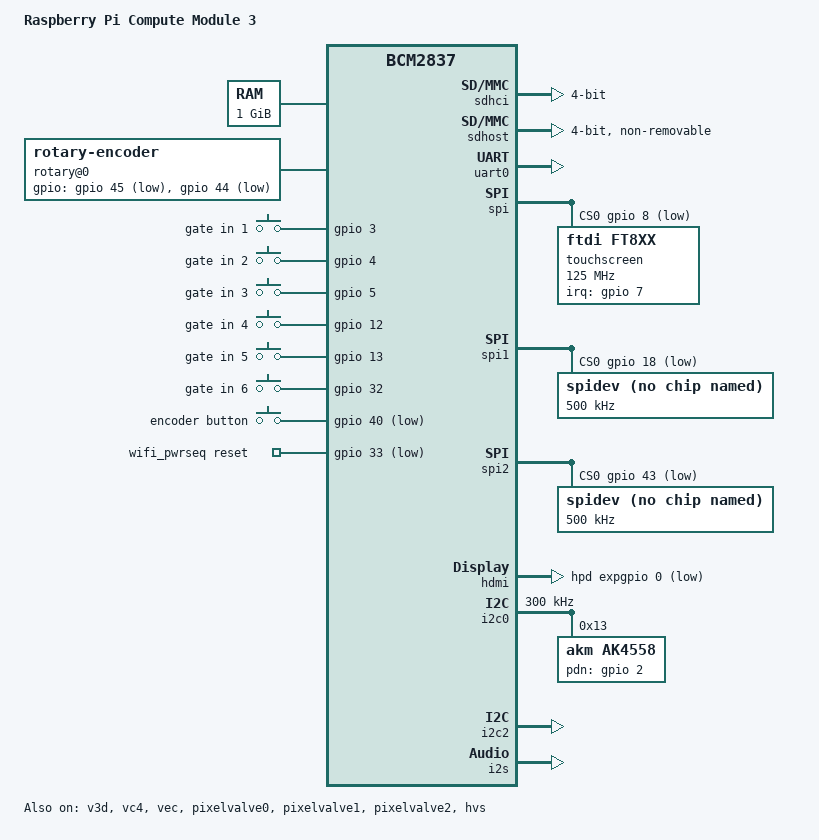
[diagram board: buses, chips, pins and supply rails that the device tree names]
// SPDX-License-Identifier: GPL-2.0
/dts-v1/;
#include "../../../../arm/boot/dts/bcm2837.dtsi"
#include "../../../../arm/boot/dts/bcm2835-rpi.dtsi"
#include "../../../../arm/boot/dts/bcm283x-rpi-usb-host.dtsi"

#include <dt-bindings/interrupt-controller/irq.h>
#include <dt-bindings/clock/bcm2835.h>
#include <dt-bindings/input/linux-event-codes.h>

#define ALT(x) BCM2835_FSEL_ALT ## x
#define DIR(x) BCM2835_FSEL_GPIO_ ## x
#define PULL(x) BCM2835_PUD_ ## x


/ {
	compatible = "raspberrypi,cm3", "brcm,bcm2837";
	model = "Raspberry Pi Compute Module 3";
	
	/delete-node/ chosen;
	
	memory {
		reg = <0 0x40000000>;
	};
	
	/delete-node/ leds;
	/delete-node/ cpus;
	
	expgpio: expgpio {
                compatible = "brcm,bcm2835-expgpio";
                gpio-controller;
		#gpio-cells = <2>;
		firmware = <&firmware>;
                status = "okay";
        };
	
	/*vchiq: vchiq {
		compatible = "brcm,bcm2835-vchiq";
		reg = <0x7e00b840 0xf>;
		interrupts = <0 2>;
		cache-line-size = <32>;
		firmware = <&firmware>;
        };*/
	
	
	cpus: cpus {
		#address-cells = <1>;
                #size-cells = <0>;
		
		v8_cpu0: cpu@0 {
			device_type = "cpu";
                        compatible = "arm,cortex-a53", "arm,armv8";
                        reg = <0>;
                        clock-frequency = <1200000000>;
		};
		
	        v8_cpu1: cpu@1 {
			device_type = "cpu";
                        compatible = "arm,cortex-a53", "arm,armv8";
                        reg = <1>;
                        clock-frequency = <1200000000>;
                        enable-method = "spin-table";
			cpu-release-addr = <0x0 0xe0>;
                };
		
                v8_cpu2: cpu@2 {
                        device_type = "cpu";
                        compatible = "arm,cortex-a53", "arm,armv8";
			reg = <2>;
                        clock-frequency = <1200000000>;
			enable-method = "spin-table";
                        cpu-release-addr = <0x0 0xe8>;
		};
		
                v8_cpu3: cpu@3 {
                        device_type = "cpu";
			compatible = "arm,cortex-a53", "arm,armv8";
                        reg = <3>;
                        clock-frequency = <1200000000>;
			enable-method = "spin-table";
                        cpu-release-addr = <0x0 0xf0>;
                };
	};
	
	soc {
		syscon@40000000 {
			compatible = "brcm,bcm2836-arm-local", "syscon";
			reg = <0x40000000 0x100>;
		};
		
		rotary@0 {
			compatible = "rotary-encoder";
			gpios = <&gpio 45 GPIO_ACTIVE_LOW>, <&gpio 44 GPIO_ACTIVE_LOW>;
			linux,axis = <0>;
			rotary-encoder,relative-axis;
			rotary-encoder,encoding = "gray";
			pinctrl-names = "default";
			pinctrl-0 = <&encoder_pins>;
		};
		
		input_gates {
			pinctrl-names = "default";
			pinctrl-0 = <&gatein_pins>;
		};
		
		gpio-keys {
			compatible = "gpio-keys";
			pinctrl-names = "default";
			pinctrl-0 = <&gateout_pins &gatein_pins>;
			
			gate-in-1 {
				label = "gate in 1";
				linux,code = <BTN_TRIGGER_HAPPY1>;
				gpios = <&gpio 3 GPIO_ACTIVE_HIGH>;
			};
			
			gate-in-2 {
				label = "gate in 2";
				linux,code = <BTN_TRIGGER_HAPPY2>;
				gpios = <&gpio 4 GPIO_ACTIVE_HIGH>;
			};
			
			gate-in-3 {
				label = "gate in 3";
				linux,code = <BTN_TRIGGER_HAPPY3>;
				gpios = <&gpio 5 GPIO_ACTIVE_HIGH>;
			};
			
			gate-in-4 {
				label = "gate in 4";
				linux,code = <BTN_TRIGGER_HAPPY4>;
				gpios = <&gpio 12 GPIO_ACTIVE_HIGH>;
			};
			
			gate-in-5 {
				label = "gate in 5";
				linux,code = <BTN_TRIGGER_HAPPY5>;
				gpios = <&gpio 13 GPIO_ACTIVE_HIGH>;
			};
			
			gate-in-6 {
				label = "gate in 6";
				linux,code = <BTN_TRIGGER_HAPPY6>;
				gpios = <&gpio 32 GPIO_ACTIVE_HIGH>;
			};

			click {
				label = "encoder button";
				linux,code = <BTN_SELECT>;
				gpios = <&gpio 40 GPIO_ACTIVE_LOW>;
				pinctrl-names = "default";
				pinctrl-0 = <&button_pin>;
			};
		};
		
		/delete-node/ sdhci@7e300000;
		wifi_pwrseq: wifi_pwrseq {
			compatible = "mmc-pwrseq-emmc";
			reset-gpios = <&gpio 33 GPIO_ACTIVE_LOW>;
		};
		
		sdhci: sdhci@7e300000 {
			compatible = "brcm,bcm2835-sdhci";
			pinctrl-names = "default";
			pinctrl-0 = <&sdio_pins>;
			reg = <0x7e300000 0x100>;
			interrupts = <2 30>;
			clocks = <&clocks BCM2835_CLOCK_EMMC>;
			bus-width = <4>;
			max-frequency = <50000000>;
			mmc-pwrseq = <&wifi_pwrseq>;
			status = "okay";
			removable;
		};

	
		/delete-node/ mmc@7e202000;
		sdhost: mmc@7e202000 {
			compatible = "brcm,bcm2835-sdhost";
			reg = <0x7e202000 0x100>;
			interrupts = <2 24>;
			clocks = <&clocks BCM2835_CLOCK_VPU>;
			dmas = <&dma 13>;
			dma-names = "rx-tx";
			pinctrl-names = "default";
			pinctrl-0 = <&sdhost_pins>;
			status = "okay";
			bus-width = <4>;
			brcm,overclock-50 = <50>;
			brcm,pio-limit = <1>;
			non-removable;
		};

		sound: sound {
			compatible = "ohmbre,ohmbre-codec";
			i2s-controller = <&i2s>;
			status = "okay";
		};

		/delete-node/ pixelvalve@7e206000;
		/delete-node/ pixelvalve@7e207000;
		/delete-node/ pixelvalve@7e807000;
	
		pixelvalve0: pixelvalve@7e206000 {
			compatible = "brcm,bcm2835-pixelvalve0";
			reg = <0x7e206000 0x100>;
			interrupts = <2 13>;
			status = "okay";
		};
		
		pixelvalve1: pixelvalve@7e207000 {
			compatible = "brcm,bcm2835-pixelvalve1";
			reg = <0x7e207000 0x100>;
			interrupts = <2 14>;
			status = "okay";
		};
		
		pixelvalve2: pixelvalve@7e807000 {
			compatible = "brcm,bcm2835-pixelvalve2";
			reg = <0x7e807000 0x100>;
			interrupts = <2 10>;
			status = "okay";
		};

		/delete-node/ hvs@7e400000;
		hvs: hvs@7e400000 {
			compatible = "brcm,bcm2835-hvs";
			reg = <0x7e400000 0x6000>;
			interrupts = <2 1>;
			status = "okay";
		};
	};


};


&gpio {

        tft_spi_pins: tft_pins {
                brcm,pins = <9 10 11>;
                brcm,function = <ALT(0)>;
        };

	tft_cs_pin: tft_cs_pin {
		brcm,pins = <8>;
		brcm,function = <DIR(OUT)>;
	};

	tft_int_pin: tft_int_pin {
		brcm,pins = <7>;
		brcm,function = <DIR(IN)>;
		brcm,pull = <PULL(UP)>;
	};

        sdio_pins: sdio_pins {
		brcm,pins = <22 23 24 25 26 27>;
                brcm,function = <ALT(3)>;
                brcm,pull = <PULL(OFF) PULL(UP) PULL(UP) PULL(UP) PULL(UP) PULL(UP)>;
        };

	sdhost_pins: sdhost_pins {
		brcm,pins = <48 49 50 51 52 53>;
                brcm,function = <ALT(0)>;
                brcm,pull = <PULL(UP) PULL(UP) PULL(UP) PULL(UP) PULL(UP) PULL(UP)>;
        };

	blue_pins: blue_pins {
		brcm,pins = <14 15 16 17>;
		brcm,function = <ALT(0) ALT(0) ALT(3) ALT(3)>;
	};

	encoder_pins: encoder_pins {
		brcm,pins = <44 45>;
		brcm,function = <DIR(IN)>;
		brcm,pull = <PULL(UP)>;
	};

	button_pin: button_pin {
		brcm,pins = <40>;
		brcm,function = <DIR(IN)>;
		brcm,pull = <PULL(UP)>;
	};

	gatein_pins: gatein_pins {
		brcm,pins = <3 4 5 12 13 32>;
		brcm,function = <DIR(IN)>;
		brcm,pull = <PULL(UP)>;
	};
		
	gateout_pins: gateout_pins {
		brcm,pins = <39 38 37 36 35 34>;
		brcm,function = <DIR(OUT)>;
		brcm,pull = <PULL(UP)>;
	};

	codec_i2c_pins: codec_i2c_pins {
                brcm,pins = <0 1 2>;
		brcm,function = <ALT(0) ALT(0) DIR(OUT)>;
		brcm,pull = <PULL(UP) PULL(UP) PULL(UP)>;
	};

	codec_i2s_pins: codec_i2s_pins {
                brcm,pins = <28 29 30 31>;
       	        brcm,function = <ALT(2)>;
	};

	adc_spi_pins: adc_spi_pins {
		brcm,pins = <19 20 21>;
		brcm,function = <ALT(4)>;
	};

	adc_cs_pin: adc_cs_pin {
		brcm,pins = <18>;
		brcm,function = <DIR(OUT)>;
	};

	dac_spi_pins: dac_spi_pins {
		brcm,pins = <41 42>;
		brcm,function = <ALT(4)>;
	};

	dac_cs_pin: dac_cs_pin {
		brcm,pins = <43>;
		brcm,function = <DIR(OUT)>;
	};
};


&uart0 {
	pinctrl-names = "default";
	pinctrl-0 = <&blue_pins>;
	clock-frequency = <48000000>;
	uart-has-rtscts;
        status = "okay";
};

&uart1 {
	status = "disabled";
};

&spi { 

        pinctrl-names = "default";
	pinctrl-0 = <&tft_spi_pins &tft_cs_pin>;
	cs-gpios = <&gpio 8 GPIO_ACTIVE_LOW>;
      	dmas = <&dma 6>, <&dma 7>;
	dma-names = "tx", "rx";
        status = "okay";

        /delete-node/ spidev@0;
      	/delete-node/ spidev@1;

	touchscreen: tinyft8@0{
                compatible = "ftdi,ft8xx";
      	        reg = <0>;
                spi-max-frequency = <125000000>;
                interrupt-parent = <&gpio>;
		interrupts = <7 IRQ_TYPE_EDGE_FALLING>;
		pinctrl-names = "default";
		pinctrl-0 = <&tft_int_pin>;
		irq-gpios = <&gpio 7 GPIO_ACTIVE_HIGH>;
                touchscreen-size-x = <320>;
                touchscreen-size-y = <240>;
                status = "okay";
        };

};

&spi1 {
	pinctrl-names = "default";
	pinctrl-0 = <&adc_spi_pins &adc_cs_pin>;
	cs-gpios = <&gpio 18 GPIO_ACTIVE_LOW>;
	interrupts = <1 29>;
	status = "okay";
	spidev@0 {
		compatible = "spidev";
		reg = <0>;
		#address-cells = <1>;
		#size-cells = <0>;

		spi-max-frequency = <500000>;
		status = "okay";
	};
};

&spi2 {
	pinctrl-names = "default";
	pinctrl-0 = <&dac_spi_pins &dac_cs_pin>;
	cs-gpios = <&gpio 43 GPIO_ACTIVE_LOW>;
	interrupts = <1 29>;
	status = "okay";
	spidev@0 {
		compatible = "spidev";
		reg = <0>;
		#address-cells = <1>;
		#size-cells = <0>;
		spi-max-frequency = <500000>;
		status = "okay";
	};
};

&pwm {
        status = "disabled";
};

&hdmi {
	hpd-gpios = <&expgpio 0 GPIO_ACTIVE_LOW>;
	status = "okay";
};

&i2c0 {
	status = "okay";
	pinctrl-names = "default";
	pinctrl-0 = <&codec_i2c_pins>;
	clock-frequency = <300000>;

	ak4558@13 {
	        #sound-dai-cells = <0>;
		compatible = "akm,ak4558";
                reg = <0x13>;
		pdn-gpio = <&gpio 2 GPIO_ACTIVE_HIGH>;
		status = "okay";
	};
};
	
&i2c1 {
	status = "disabled";
};

&i2c2 {
	status = "okay";
};

&i2s {
	pinctrl-names = "default";
	pinctrl-0 = <&codec_i2s_pins>;
	#sound-dai-cells = <0>;
	clocks = <&clocks BCM2835_CLOCK_PCM>;
	status = "okay";
};

&v3d {
	status = "okay";
};

&vc4 {
	status = "okay";
};

&vec {
	status = "okay";
};

&clocks {
        claim-clocks = <
                     BCM2835_PLLD_DSI0
		     BCM2835_PLLD_DSI1
                     BCM2835_PLLH_AUX
                     BCM2835_PLLH_PIX
                     >;
};
